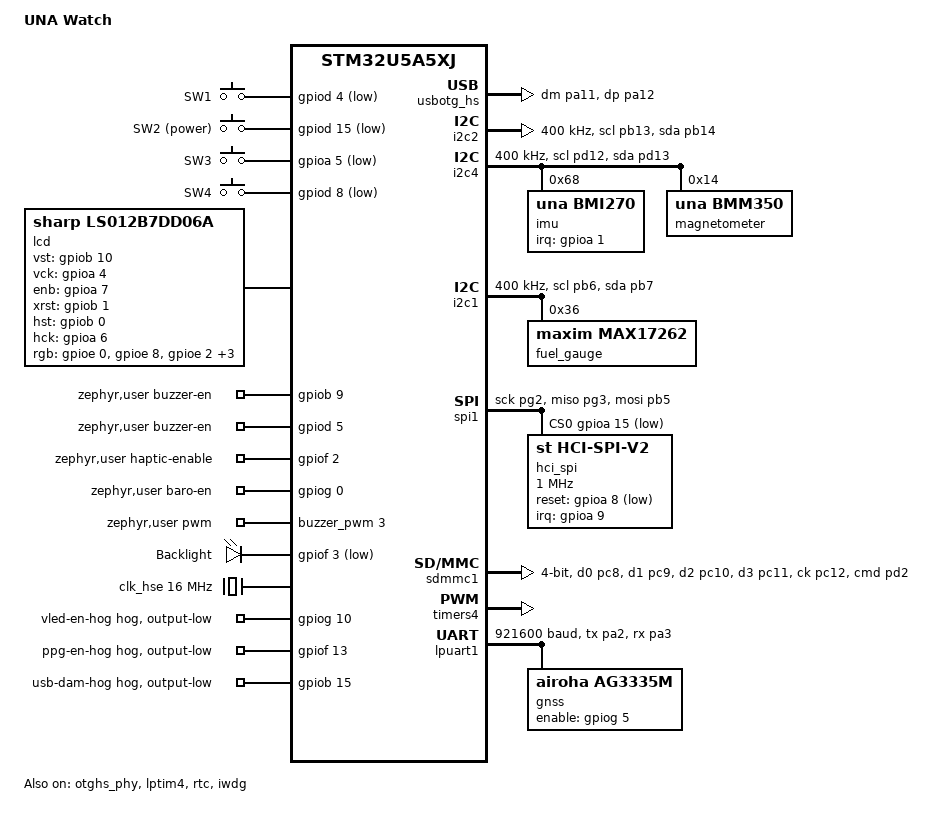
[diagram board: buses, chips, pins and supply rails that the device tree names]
/*
 * UNA Watch (UNAcore Rev3.2), STM32U5A5QJI6Q.
 *
 * Pins and clocks follow the stock kernel: main.h and
 * Libs/Source/Drivers/STM32U5xx/System.cpp in una-kernel-public.
 */

/dts-v1/;
#include <st/u5/stm32u5a5Xj.dtsi>
#include <st/u5/stm32u5a5qjixq-pinctrl.dtsi>
#include <zephyr/dt-bindings/input/input-event-codes.h>
#include <zephyr/dt-bindings/pwm/pwm.h>

/ {
	model = "UNA Watch";
	compatible = "una,una-watch";

	chosen {
		zephyr,console = &cdc_acm_uart0;
		zephyr,shell-uart = &cdc_acm_uart0;
		zephyr,sram = &sram0;
		zephyr,flash = &flash0;
		zephyr,code-partition = &slot0_partition;
		zephyr,uart-mcumgr = &cdc_acm_uart1;
		zephyr,display = &lcd;
		zephyr,bt-hci = &hci_spi;
		/* Runs from the LSE through Stop 2; LPTIM1 and LPTIM3 belong to the LCD. */
		zephyr,system-timer = &lptim4;
	};

	aliases {
		sw0 = &button_sw1;
		/* Held at reset: MCUboot stays in serial recovery. */
		mcuboot-button0 = &button_sw1;
		backlight = &backlight;
		watchdog0 = &iwdg;
		fuel-gauge0 = &fuel_gauge;
		gnss = &gnss;
		rtc = &rtc;
	};

	buttons: gpio_keys {
		compatible = "gpio-keys";

		/* SW1-SW4 in the stock kernel's order (HWButtons::config). */
		button_sw1: button_sw1 {
			label = "SW1";
			gpios = <&gpiod 4 (GPIO_ACTIVE_LOW | GPIO_PULL_UP)>;
			zephyr,code = <INPUT_KEY_1>;
		};

		/* Also the PMIC's ON key: held long enough it power-cycles the watch. */
		button_sw2: button_sw2 {
			label = "SW2 (power)";
			gpios = <&gpiod 15 (GPIO_ACTIVE_LOW | GPIO_PULL_UP)>;
			zephyr,code = <INPUT_KEY_2>;
		};

		button_sw3: button_sw3 {
			label = "SW3";
			gpios = <&gpioa 5 (GPIO_ACTIVE_LOW | GPIO_PULL_UP)>;
			zephyr,code = <INPUT_KEY_3>;
		};

		button_sw4: button_sw4 {
			label = "SW4";
			gpios = <&gpiod 8 (GPIO_ACTIVE_LOW | GPIO_PULL_UP)>;
			zephyr,code = <INPUT_KEY_4>;
		};
	};

	/*
	 * A-D when a button is released early, W-Z once it has been held, in
	 * the order UP (SW1), SELECT (SW2), DOWN (SW3), BACK (SW4). No input
	 * device is named, so presses simulated from the shell count too.
	 */
	longpress {
		compatible = "zephyr,input-longpress";
		input-codes = <INPUT_KEY_1 INPUT_KEY_2 INPUT_KEY_3 INPUT_KEY_4>;
		short-codes = <INPUT_KEY_A INPUT_KEY_B INPUT_KEY_C INPUT_KEY_D>;
		long-codes = <INPUT_KEY_W INPUT_KEY_X INPUT_KEY_Y INPUT_KEY_Z>;
		long-delay-ms = <700>;
	};

	lcd: lcd {
		compatible = "sharp,ls012b7dd06a";
		width = <240>;
		height = <240>;
		rotated;
		vst-gpios = <&gpiob 10 GPIO_ACTIVE_HIGH>;
		vck-gpios = <&gpioa 4 GPIO_ACTIVE_HIGH>;
		enb-gpios = <&gpioa 7 GPIO_ACTIVE_HIGH>;
		xrst-gpios = <&gpiob 1 GPIO_ACTIVE_HIGH>;
		hst-gpios = <&gpiob 0 GPIO_ACTIVE_HIGH>;
		hck-gpios = <&gpioa 6 GPIO_ACTIVE_HIGH>;
		rgb-gpios = <&gpioe 0 GPIO_ACTIVE_HIGH>, <&gpioe 8 GPIO_ACTIVE_HIGH>,
			    <&gpioe 2 GPIO_ACTIVE_HIGH>, <&gpioe 10 GPIO_ACTIVE_HIGH>,
			    <&gpioe 4 GPIO_ACTIVE_HIGH>, <&gpioe 12 GPIO_ACTIVE_HIGH>;
		/* FRP and XFRP */
		pinctrl-0 = <&lptim1_ch1_pb2 &lptim3_ch1_pd14>;
		pinctrl-names = "default";
	};

	/*
	 * The eMMC as the stock firmware and the UNA bootloader divide it. The
	 * first 100 MiB are the bootloader's own volume ("UNA BOOT": update
	 * files, factory image, GNSS firmware) and are deliberately not
	 * reachable from here; the next two regions are unused by Zephyr.
	 */
	user_disk: user-disk {
		compatible = "una,disk-region";
		disk-name = "USER";
		parent-disk = "MMC";
		start-sector = <614400>;
	};

	/* Buzzer and vibration motor, driven by the app's src/alert_hw.c. */
	zephyr,user {
		/* 4 kHz, the stock firmware's default pitch. */
		pwms = <&buzzer_pwm 3 PWM_USEC(250) PWM_POLARITY_NORMAL>;
		/* BUZZER_EN1 and BUZZER_EN2: together they set the level. */
		buzzer-en-gpios = <&gpiob 9 GPIO_ACTIVE_HIGH>, <&gpiod 5 GPIO_ACTIVE_HIGH>;
		/* DRV2625 NRST: low is shutdown. */
		haptic-enable-gpios = <&gpiof 2 GPIO_ACTIVE_HIGH>;
		/* ALTIMETER_EN: the barometer's supply. */
		baro-en-gpios = <&gpiog 0 GPIO_ACTIVE_HIGH>;
	};

	leds {
		compatible = "gpio-leds";

		backlight: backlight {
			label = "Backlight";
			gpios = <&gpiof 3 (GPIO_ACTIVE_LOW | GPIO_OPEN_DRAIN)>;
		};
	};
};

&pwr {
	power-supply = "smps";
};

/* 16 MHz crystal, the reference of the USB HS PHY. */
&clk_hse {
	clock-frequency = <DT_FREQ_M(16)>;
	status = "okay";
};

/* SiT1532 oscillator, not a crystal. */
&clk_lse {
	lse-bypass;
	status = "okay";
};

&clk_lsi {
	status = "okay";
};

&clk_msis {
	msi-range = <0>; /* 48 MHz */
	status = "okay";
};

&pll1 {
	div-m = <3>;
	mul-n = <10>;
	div-q = <2>; /* 80 MHz, eMMC */
	div-r = <1>; /* 160 MHz */
	clocks = <&clk_msis>;
	status = "okay";
};

&rcc {
	clocks = <&pll1>;
	clock-frequency = <DT_FREQ_M(160)>;
	ahb-prescaler = <1>;
	apb1-prescaler = <1>;
	apb2-prescaler = <1>;
	apb3-prescaler = <1>;
};

&flash0 {
	partitions {
		compatible = "fixed-partitions";
		#address-cells = <1>;
		#size-cells = <1>;

		/*
		 * The first 384 KB are the way back to the stock firmware and
		 * cannot be restored without SWD. Never write them.
		 */
		una_boot_partition: partition@0 {
			label = "una-bootloader";
			reg = <0x00000000 DT_SIZE_K(160)>;
			read-only;
		};

		una_libc_partition: partition@28000 {
			label = "una-libc";
			reg = <0x00028000 DT_SIZE_K(224)>;
			read-only;
		};

		/*
		 * The rest is what the stock bootloader calls the kernel: it
		 * starts whatever is at 0x08060000, which here is MCUboot.
		 */
		boot_partition: partition@60000 {
			label = "mcuboot";
			reg = <0x00060000 DT_SIZE_K(128)>;
		};

		slot0_partition: partition@80000 {
			label = "image-0";
			reg = <0x00080000 DT_SIZE_K(1536)>;
		};

		/* Starts at the second flash bank. */
		slot1_partition: partition@200000 {
			label = "image-1";
			reg = <0x00200000 DT_SIZE_K(1536)>;
		};

		storage_partition: partition@380000 {
			label = "storage";
			reg = <0x00380000 DT_SIZE_K(512)>;
		};
	};
};

zephyr_udc0: &usbotg_hs {
	pinctrl-0 = <&usb_otg_hs_dm_pa11 &usb_otg_hs_dp_pa12>;
	pinctrl-names = "default";
	status = "okay";

	/* Shell and log. */
	cdc_acm_uart0: cdc_acm_uart0 {
		compatible = "zephyr,cdc-acm-uart";
	};

	/* mcumgr (SMP): image upload, in the application and in MCUboot. */
	cdc_acm_uart1: cdc_acm_uart1 {
		compatible = "zephyr,cdc-acm-uart";
	};
};

&otghs_phy {
	status = "okay";
};

/*
 * The barometer's bus: MS5837-02BA at 0x76. The app drives the sensor itself
 * (src/baro_hw.c), as its supply is switched. The heart-rate sensor is on
 * this bus too (PAH8316, 0x40), unpowered so far.
 */
&i2c2 {
	pinctrl-0 = <&i2c2_scl_pb13 &i2c2_sda_pb14>;
	pinctrl-names = "default";
	clock-frequency = <I2C_BITRATE_FAST>;
	status = "okay";
};

/*
 * The motion sensors' bus: BMI270 at 0x68 and the magnetometer, BMM350, at
 * 0x14. Both have their supply whenever the watch has, and sleep at a few
 * microamps when nothing is asked of them. Both are started by the app, not
 * at boot.
 */
&i2c4 {
	pinctrl-0 = <&i2c4_scl_pd12 &i2c4_sda_pd13>;
	pinctrl-names = "default";
	clock-frequency = <I2C_BITRATE_FAST>;
	status = "okay";

	/*
	 * Started by the app (src/motion_hw.c), not at boot. Its INT2 is the
	 * one wired. It lies turned a quarter in the watch: the mounting and
	 * the angles of the wrist are the stock firmware's.
	 */
	imu: bmi270@68 {
		compatible = "una,bmi270";
		reg = <0x68>;
		irq-gpios = <&gpioa 1 GPIO_ACTIVE_HIGH>;
		int-pin = <2>;
		axes = <1 0 2>;
		axes-inverted = <1 0 0>;
		wrist-wake-params = <1024 1774 1024 700 179 1925>;
		zephyr,deferred-init;
	};

	/*
	 * src/compass_hw.c. Its interrupt (PC2) is not used. The mounting is
	 * the stock firmware's, measured on the watch.
	 */
	magnetometer: bmm350@14 {
		compatible = "una,bmm350";
		reg = <0x14>;
		axes = <1 0 2>;
		axes-inverted = <0 0 1>;
		zephyr,deferred-init;
	};
};

/*
 * Main bus: PMIC 0x61, fuel gauge 0x36, USB-C sink 0x29, haptic driver 0x5a,
 * display board EEPROM 0x50. Pulled up on the board.
 */
&i2c1 {
	pinctrl-0 = <&i2c1_scl_pb6 &i2c1_sda_pb7>;
	pinctrl-names = "default";
	clock-frequency = <I2C_BITRATE_FAST>;
	status = "okay";

	/* 200 mAh cell charged to 4.40 V; values as the stock kernel sets them. */
	fuel_gauge: max17262@36 {
		compatible = "maxim,max17262";
		reg = <0x36>;
		design-voltage = <3800>;
		desired-voltage = <4400>;
		desired-charging-current = <150>;
		design-cap = <200>;
		empty-voltage = <3400>;
		recovery-voltage = <3960>;
		charge-voltage = <4400>;
	};
};

/*
 * BLE module (UNAlink_BLUENRG2). The BlueNRG-234N boots with ST's own host
 * stack; req-ll-only tells it to act as a plain controller for this session,
 * which carries data from ST's firmware 3.4.0 on.
 */
&spi1 {
	pinctrl-0 = <&spi1_sck_pg2 &spi1_miso_pg3 &spi1_mosi_pb5>;
	pinctrl-names = "default";
	cs-gpios = <&gpioa 15 GPIO_ACTIVE_LOW>;
	status = "okay";

	hci_spi: bluenrg-2@0 {
		compatible = "st,hci-spi-v2";
		reg = <0>;
		reset-gpios = <&gpioa 8 (GPIO_ACTIVE_LOW | GPIO_OPEN_DRAIN)>;
		irq-gpios = <&gpioa 9 (GPIO_ACTIVE_HIGH | GPIO_PULL_DOWN)>;
		spi-cpha;
		spi-hold-cs;
		spi-max-frequency = <DT_FREQ_M(1)>;
		reset-event;
		req-ll-only;
		reset-assert-duration-ms = <6>;
	};
};

/*
 * Power enables of parts nothing drives yet, held off as the stock kernel
 * boots them. Left floating, the GNSS module's own pull-up turns it on.
 */
&gpiog {
	vled-en-hog {
		gpio-hog;
		gpios = <10 GPIO_ACTIVE_HIGH>;
		output-low;
	};
};

&gpiof {
	ppg-en-hog {
		gpio-hog;
		gpios = <13 GPIO_ACTIVE_HIGH>;
		output-low;
	};
};

&gpiob {
	/* USB_DAM: high hides USB when a debug accessory is attached. */
	usb-dam-hog {
		gpio-hog;
		gpios = <15 GPIO_ACTIVE_HIGH>;
		output-low;
	};
};

/* 4 GB eMMC; its supply is switched by EMMC_EN. */
&sdmmc1 {
	pinctrl-0 = <&sdmmc1_d0_pc8 &sdmmc1_d1_pc9 &sdmmc1_d2_pc10 &sdmmc1_d3_pc11
		     &sdmmc1_ck_pc12 &sdmmc1_cmd_pd2>;
	pinctrl-names = "default";
	clocks = <&rcc STM32_CLOCK(AHB2, 27)>,
		 <&rcc STM32_SRC_HSI48 SDMMC_SEL(0)>;
	pwr-gpios = <&gpiod 10 GPIO_ACTIVE_HIGH>;
	bus-width = <4>;
	/* 48 MHz / (2 * 1) = 24 MHz. Undivided, reads overrun the receive FIFO. */
	clk-div = <1>;
	disk-name = "MMC";
	status = "okay";
};

&timers4 {
	st,prescaler = <0>;
	status = "okay";

	buzzer_pwm: pwm {
		pinctrl-0 = <&tim4_ch3_pb8>;
		pinctrl-names = "default";
		status = "okay";
	};
};

&clk_hsi48 {
	status = "okay";
};

&lptim4 {
	clocks = <&rcc STM32_CLOCK(APB3, 13)>,
		 <&rcc STM32_SRC_LSE LPTIM34_SEL(3)>;
	status = "okay";
};

&rtc {
	clocks = <&rcc STM32_CLOCK(APB3, 21)>,
		 <&rcc STM32_SRC_LSE RTC_SEL(1)>;
	status = "okay";
};

&iwdg {
	status = "okay";
};

/*
 * GNSS: Airoha AG3335M at 921600 baud, as the stock firmware has it. PG5
 * (SENSOR2_RST_L in the stock source) is its power.
 */
&lpuart1 {
	pinctrl-0 = <&lpuart1_tx_pa2 &lpuart1_rx_pa3>;
	pinctrl-names = "default";
	current-speed = <921600>;
	status = "okay";

	gnss: gnss {
		compatible = "airoha,ag3335m";
		enable-gpios = <&gpiog 5 GPIO_ACTIVE_HIGH>;
	};
};
